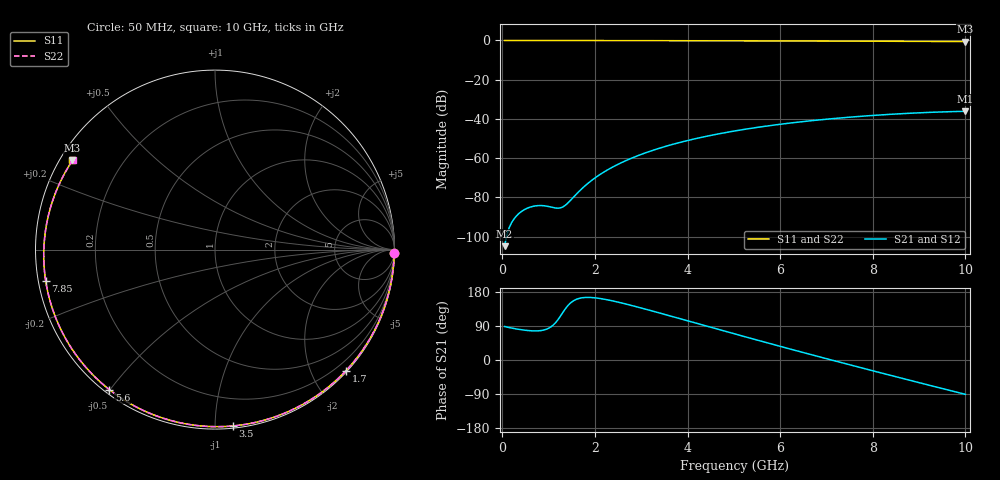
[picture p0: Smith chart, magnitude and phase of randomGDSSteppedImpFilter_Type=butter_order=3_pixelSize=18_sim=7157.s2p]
! freq	dB(S11)	phase(S11)	dB(S12)	phase(S12)
!  dB(S21)	phase(S21)	dB(S22)	phase(S22)
!S-par simulation data
#  GHz  S  DB  R 50
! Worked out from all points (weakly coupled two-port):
!   200 points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, 50 MHz to 10 GHz, reference 50 ohm
!   highest |S21| = -36.11 dB at 10 GHz (marker M1); lowest = -104.8 dB at 50 MHz (marker M2)
!   lowest |S11| = -0.6 dB at 10 GHz (marker M3), VSWR 30.53, Z = 1.77 + j14.3 ohm
!   |S11| at or under -10 dB: nowhere
!   |S22| runs from -0.6 to 0.0 dB; largest |S21 - S12| = 0
!   S11 on the Smith chart (normalised r, x): 50 MHz: 3, -92; 1.7 GHz: 0.02, -2.55; 3.5 GHz: 0.01, -1.11; 5.6 GHz: 0.01, -0.50; 7.85 GHz: 0.02, -0.09; 10 GHz: 0.04, +0.29
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0.05  -0.01 -1.2  -104.84 88.4  -104.84 88.4  -0.01 -1.2
0.4  -0.02 -10.2  -87.41 80.1  -87.41 80.1  -0.02 -10.2
0.75  -0.02 -19.1  -84.22 76.8  -84.22 76.8  -0.02 -19.2
1.5  -0.05 -37.9  -80.80 153.2  -80.80 153.2  -0.05 -37.9
1.55  -0.05 -39.1  -79.55 157.2  -79.55 157.2  -0.05 -39.1
1.7  -0.05 -42.7  -75.96 163.7  -75.96 163.7  -0.05 -42.8
1.75  -0.05 -44.0  -74.86 164.6  -74.86 164.6  -0.05 -44.0
2.05  -0.06 -51.2  -69.27 163.4  -69.27 163.4  -0.06 -51.2
2.45  -0.08 -60.6  -63.70 154.1  -63.70 154.1  -0.08 -60.6
2.9  -0.09 -70.9  -58.97 140.5  -58.97 140.5  -0.09 -70.9
3.4  -0.10 -82.0  -54.87 123.9  -54.87 123.9  -0.10 -82.1
3.5  -0.11 -84.2  -54.16 120.5  -54.16 120.5  -0.11 -84.2
4.25  -0.14 -100.1  -49.64 95.0  -49.64 95.0  -0.14 -100.1
5.05  -0.17 -116.3  -46.00 67.8  -46.00 67.8  -0.17 -116.3
5.6  -0.20 -127.0  -43.99 49.3  -43.99 49.3  -0.20 -127.0
6.15  -0.23 -137.5  -42.28 31.1  -42.28 31.1  -0.23 -137.6
6.7  -0.27 -147.9  -40.84 13.1  -40.84 13.1  -0.27 -147.9
7.3  -0.31 -159.1  -39.50 -6.2  -39.50 -6.2  -0.32 -159.2
7.85  -0.36 -169.5  -38.47 -23.7  -38.47 -23.7  -0.36 -169.6
8.35  -0.41 -179.0  -37.69 -39.5  -37.69 -39.5  -0.41 -179.1
9.2  -0.49 164.4  -36.68 -66.0  -36.68 -66.0  -0.49 164.3
10  -0.57 148.0  -36.11 -90.6  -36.11 -90.6  -0.57 147.9
